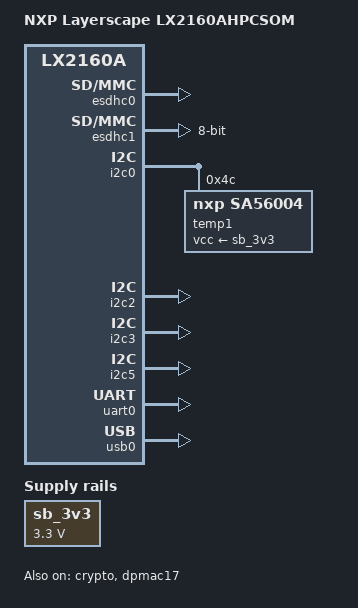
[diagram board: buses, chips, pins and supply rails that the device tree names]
// SPDX-License-Identifier: (GPL-2.0 OR MIT)
//
// Device Tree file for LX2160A HPCSOM
//
// Copyright 2021 NXP

/dts-v1/;

#include "fsl-lx2160a.dtsi"

/ {
	model = "NXP Layerscape LX2160AHPCSOM";
	compatible = "fsl,lx2160a-rdb", "fsl,lx2160a";

	aliases {
		crypto = &crypto;
		serial0 = &uart0;
	};

	chosen {
		stdout-path = "serial0:115200n8";
	};

	sb_3v3: regulator-sb3v3 {
		compatible = "regulator-fixed";
		regulator-name = "MC34717-3.3VSB";
		regulator-min-microvolt = <3300000>;
		regulator-max-microvolt = <3300000>;
		regulator-boot-on;
		regulator-always-on;
	};
};

&crypto {
	status = "okay";
};

&esdhc0 {
	sd-uhs-sdr104;
	sd-uhs-sdr50;
	sd-uhs-sdr25;
	sd-uhs-sdr12;
	status = "okay";
};

&esdhc1 {
	mmc-hs200-1_8v;
	mmc-hs400-1_8v;
	bus-width = <8>;
	status = "okay";
};

&i2c0 {
	status = "okay";

	temp1: temperature-sensor@4c {
		compatible = "nxp,sa56004";
		reg = <0x4c>;
		vcc-supply = <&sb_3v3>;
		#thermal-sensor-cells = <1>;
	};
};

&i2c2 {
	status = "okay";
};

&i2c3 {
	status = "okay";
};

&i2c5 {
	status = "okay";
};

&uart0 {
	status = "okay";
};

&usb0 {
	status = "okay";
};

&dpmac11 {
	phy-connection-type = "sgmii";
};

&dpmac17 {
	phy-connection-type = "rgmii";
	status = "okay";

	fixed-link {
		speed = <1000>;
		full-duplex;
	};
};

